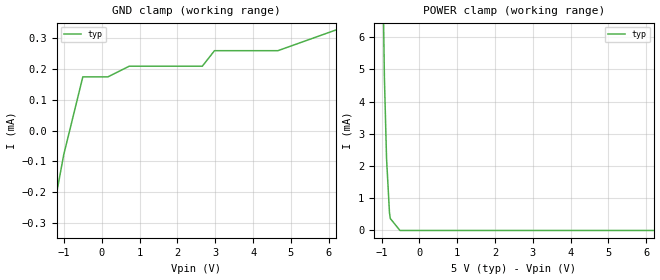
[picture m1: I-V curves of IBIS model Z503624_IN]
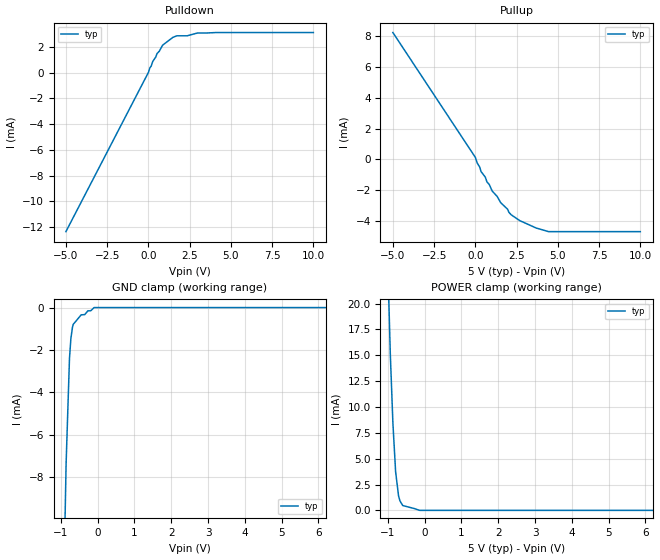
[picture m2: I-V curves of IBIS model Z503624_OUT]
| YOU ARE ONLY AUTHORIZED TO USE THIS SOFTWARE
| ACCORDING TO LICENSOR'S LICENSE RESTRICTIONS.
[IBIS Ver] 3.1
[File Name] mc14515bcp.ibs
[File Rev] 2.0
[Source] Measured and created by ICX Technology
[Date] Friday 7/14/00 9:07:56 AM
[Copyright]
| (C) COPYRIGHT 1993-2000
| MENTOR GRAPHICS CORPORATION
| ICX STANDARD LIBRARY, ICX PROJECT MODELING,
| ICX CUSTOM MODELING, ICX VENDOR MODEL
| ALL RIGHTS RESERVED.
| THE FOLLOWING ARE TRADEMARKS OR SERVICE MARKS OF
| MENTOR GRAPHICS CORPORATION:ICX (R), ICX STANDARD
| LIBRARY(R), ICX PROJECT MODELING(R), ICX CUSTOM
| MODELING(R), qualityIBIS(TM), MODELVIEWER(TM),
| AND MODELEDITOR(TM)
| ALL COPIES OF SOFTWARE, INCLUDING BUT NOT LIMITED TO
| ANY MODIFICATIONS, ENHANCEMENTS OR DERIVATIVE WORKS,
| MUST CONTAIN ALL MENTOR GRAPHICS CORPORATION'S
| NOTICES AND LEGENDS, INCLUDING THOSE EMBEDDED IN
| SOFTWARE AND THOSE AFFIXED TO SOFTWARE MEDIUM
| AND CONTAINER, AS RECEIVED FROM MENTOR GRAPHICS
| CORPORATION.
|  ZAP Model Builder 2.7
[Component] MC14515BCP
[Manufacturer] OnSemiconductor
[Package]
| variable   typ   min   max
R_pkg  .32ohms NA NA
L_pkg  7.343nH NA NA
C_pkg  1.787pF NA NA
[Pin] signal_name  model_name  R_pin  L_pin C_pin
1 STRB Z503624_IN .34 11.51n 2.512p
2 D1 Z503624_IN .332 9.51n 2.222p
3 D2 Z503624_IN .324 7.76n 1.932p
4 S7 Z503624_OUT .316 6.26n 1.642p
5 S6 Z503624_OUT .308 5.01n 1.352p
6 S5 Z503624_OUT .3 4.01n 1.062p
7 S4 Z503624_OUT .3 4.01n 1.062p
8 S3 Z503624_OUT .308 5.01n 1.352p
9 S1 Z503624_OUT .316 6.26n 1.642p
10 S2 Z503624_OUT .324 7.76n 1.932p
11 S0 Z503624_OUT .332 9.51n 2.222p
12 VSS POWER .34 11.51n 2.512p
13 S13 Z503624_OUT .34 11.51n 2.512p
14 S12 Z503624_OUT .332 9.51n 2.222p
15 S15 Z503624_OUT .324 7.76n 1.932p
16 S14 Z503624_OUT .316 6.26n 1.642p
17 S9 Z503624_OUT .308 5.01n 1.352p
18 S8 Z503624_OUT .3 4.01n 1.062p
19 S11 Z503624_OUT .3 4.01n 1.062p
20 S10 Z503624_OUT .308 5.01n 1.352p
21 D3 Z503624_IN .316 6.26n 1.642p
22 D4 Z503624_IN .324 7.76n 1.932p
23 INH Z503624_IN .332 9.51n 2.222p
24 VDD POWER .34 11.51n 2.512p
| Models and submodels in the file (2): Z503624_IN (Input), Z503624_OUT (Output)
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| (C) COPYRIGHT 1993-2000
| MENTOR GRAPHICS CORPORATION
| ICX STANDARD LIBRARY, ICX PROJECT MODELING,
| ICX CUSTOM MODELING, ICX VENDOR MODEL
| ALL RIGHTS RESERVED.
| THE FOLLOWING ARE TRADEMARKS OR SERVICE MARKS OF
| MENTOR GRAPHICS CORPORATION:ICX (R), ICX STANDARD
| LIBRARY(R), ICX PROJECT MODELING(R), ICX CUSTOM
| MODELING(R), qualityIBIS(TM), MODELVIEWER(TM),
| AND MODELEDITOR(TM)
| ALL COPIES OF SOFTWARE, INCLUDING BUT NOT LIMITED TO
| ANY MODIFICATIONS, ENHANCEMENTS OR DERIVATIVE WORKS,
| MUST CONTAIN ALL MENTOR GRAPHICS CORPORATION'S
| NOTICES AND LEGENDS, INCLUDING THOSE EMBEDDED IN
| SOFTWARE AND THOSE AFFIXED TO SOFTWARE MEDIUM
| AND CONTAINER, AS RECEIVED FROM MENTOR GRAPHICS
| CORPORATION.
| Model Application Version 1.89 2/18/99.
[Model] Z503624_IN
Model_type Input
Vinl = 1.500V
Vinh = 3.500V
C_comp 4.000pF NA NA
| variable typ   min   max
[Voltage Range] 5.000V NA NA
[GND Clamp Reference] 0.000V NA NA
[POWER Clamp Reference] 5.000V NA NA
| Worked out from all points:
|   POWER clamp passes 1 mA (typ) near -0.81 V on its own axis
[GND Clamp]
-5V       -2.711mA   NA         NA
-1.009V   -78.04uA   NA         NA
-504.5mV  173.6uA    NA         NA
156.5mV   173.6uA    NA         NA
723.3mV   208.2uA    NA         NA
2.657V    208.2uA    NA         NA
2.979V    258.4uA    NA         NA
4.656V    258.4uA    NA         NA
10V       491.7uA    NA         NA
[POWER Clamp]
-5V       937.4mA    NA         NA
-1.191V   40.16mA    NA         NA
-1.055V   17.17mA    NA         NA
-1.001V   10.8mA     NA         NA
-926mV    4.771mA    NA         NA
-869mV    2.239mA    NA         NA
-792mV    563.9uA    NA         NA
-771mV    372.8uA    NA         NA
-514mV    0A         NA         NA
10V       0A         NA         NA
| (C) COPYRIGHT 1993-2000
| MENTOR GRAPHICS CORPORATION
| ICX STANDARD LIBRARY, ICX PROJECT MODELING,
| ICX CUSTOM MODELING, ICX VENDOR MODEL
| ALL RIGHTS RESERVED.
| THE FOLLOWING ARE TRADEMARKS OR SERVICE MARKS OF
| MENTOR GRAPHICS CORPORATION:ICX (R), ICX STANDARD
| LIBRARY(R), ICX PROJECT MODELING(R), ICX CUSTOM
| MODELING(R), qualityIBIS(TM), MODELVIEWER(TM),
| AND MODELEDITOR(TM)
| ALL COPIES OF SOFTWARE, INCLUDING BUT NOT LIMITED TO
| ANY MODIFICATIONS, ENHANCEMENTS OR DERIVATIVE WORKS,
| MUST CONTAIN ALL MENTOR GRAPHICS CORPORATION'S
| NOTICES AND LEGENDS, INCLUDING THOSE EMBEDDED IN
| SOFTWARE AND THOSE AFFIXED TO SOFTWARE MEDIUM
| AND CONTAINER, AS RECEIVED FROM MENTOR GRAPHICS
| CORPORATION.
| Model Application Version 1.89 2/18/99.
[Model] Z503624_OUT
Model_type Output
Vref=0.000V
Rref=500.0Mohms
Cref=50.00pF
Vmeas=2.500V
C_comp 8.000pF NA NA
| variable typ   min   max
[Voltage Range] 5.000V NA NA
[POWER Clamp Reference] 5.000V NA NA
[Pullup Reference] 5.000V NA NA
[Pulldown Reference] 0.000V NA NA
[GND Clamp Reference] 0.000V NA NA
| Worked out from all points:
|   slope of the pulldown table from 0 to 0.75 V, typ, clamps not added: 403 ohm
|   slope of the pullup table from 0 to 0.75 V, typ, clamps not added: 454 ohm
|   GND clamp passes 1 mA (typ) near -0.69 V on its own axis
|   POWER clamp passes 1 mA (typ) near -0.68 V on its own axis
[GND Clamp]
-5V       -382.2mA   NA         NA
-857.9mV  -7.353mA   NA         NA
-766mV    -2.386mA   NA         NA
-727.8mV  -1.453mA   NA         NA
-684.1mV  -918.1uA   NA         NA
-664mV    -789.9uA   NA         NA
-448.6mV  -343.7uA   NA         NA
-350.7mV  -331.3uA   NA         NA
-267.9mV  -156.1uA   NA         NA
-190.1mV  -150.4uA   NA         NA
-95.05mV  0A         NA         NA
10V       0A         NA         NA
[Pulldown]
-5V       -12.37mA   NA         NA
8.278mV   41.91uA    NA         NA
86.82mV   375uA      NA         NA
168.8mV   512.2uA    NA         NA
265.9mV   886.8uA    NA         NA
524.3mV   1.494mA    NA         NA
864.2mV   2.149mA    NA         NA
1.483V    2.753mA    NA         NA
1.72V     2.877mA    NA         NA
2.349V    2.877mA    NA         NA
2.977V    3.095mA    NA         NA
10V       3.131mA    NA         NA
[Pullup]
-5V       8.255mA    NA         NA
4mV       113.3uA    NA         NA
262mV     -509.6uA   NA         NA
344mV     -802.8uA   NA         NA
602mV     -1.166mA   NA         NA
703mV     -1.476mA   NA         NA
840mV     -1.642mA   NA         NA
1.019V    -2.07mA    NA         NA
2.178V    -3.623mA   NA         NA
2.693V    -4.001mA   NA         NA
4.428V    -4.718mA   NA         NA
10V       -4.718mA   NA         NA
[POWER Clamp]
-5V       855.2mA    NA         NA
-1.161V   48.97mA    NA         NA
-1.041V   28.82mA    NA         NA
-933mV    15.09mA    NA         NA
-862mV    8.378mA    NA         NA
-789mV    3.732mA    NA         NA
-709mV    1.398mA    NA         NA
-671mV    914.5uA    NA         NA
-595mV    467.1uA    NA         NA
-274mV    166.5uA    NA         NA
-137mV    0A         NA         NA
10V       0A         NA         NA
[Ramp]
| variable typ min max
dV/dt_r 2.496/12.49n NA NA
dV/dt_f 2.496/15.20n NA NA
R_load = 2.500kOhms
